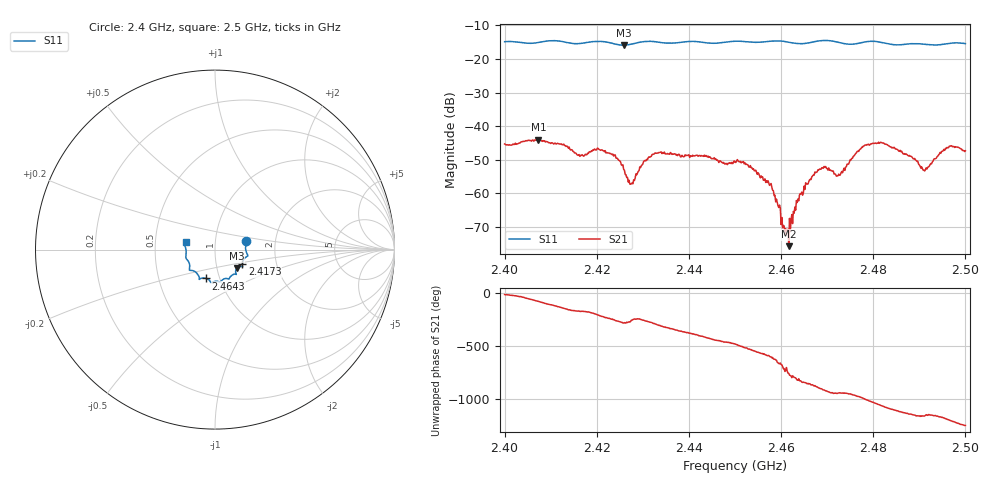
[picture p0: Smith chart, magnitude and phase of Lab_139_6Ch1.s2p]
# Hz S RI R 50
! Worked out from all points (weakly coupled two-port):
!   601 points, 2.4 GHz to 2.5 GHz, reference 50 ohm
!   highest |S21| = -43.97 dB at 2.4073 GHz (marker M1); lowest = -75.7 dB at 2.4617 GHz (marker M2)
!   lowest |S11| = -15.9 dB at 2.4258 GHz (marker M3), VSWR 1.38, Z = 62.3 - j13.3 ohm
!   |S11| at or under -10 dB: start of sweep to end of sweep
!   S12 and S22 are empty: the file has one direction only
!   S11 on the Smith chart (normalised r, x): 2.4 GHz: 1.41, +0.14; 2.4173 GHz: 1.34, -0.23; 2.4643 GHz: 0.86, -0.28; 2.5 GHz: 0.72, +0.06
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2.4e9  0.1733 0.0494  0.00516 -0.00173  0 0  0 0
2.407333e9  0.1749 -0.0141  0.000846 -0.00628  0 0  0 0
2.416667e9  0.1529 -0.0748  -0.00365 -0.00025  0 0  0 0
2.417333e9  0.1523 -0.0821  -0.00368 -0.000144  0 0  0 0
2.420667e9  0.1543 -0.0967  -0.0035 0.00274  0 0  0 0
2.425833e9  0.1216 -0.1037  0.000654 0.00219  0 0  0 0
2.427667e9  0.1149 -0.1205  -0.000277 0.00141  0 0  0 0
2.430333e9  0.1181 -0.137  -0.000385 0.00303  0 0  0 0
2.433333e9  0.113 -0.1368  0.00224 0.0033  0 0  0 0
2.45e9  0.0294 -0.1807  -0.0016 -0.00244  0 0  0 0
2.4575e9  -0.0163 -0.1819  -0.000662 0.00114  0 0  0 0
2.4605e9  -0.0247 -0.181  0.000333 3.25e-05  0 0  0 0
2.461667e9  -0.0282 -0.1746  0.000128 -0.000103  0 0  0 0
2.464333e9  -0.0499 -0.1605  -0.000375 -0.000913  0 0  0 0
2.466667e9  -0.076 -0.1596  -0.00148 -0.000963  0 0  0 0
2.469333e9  -0.0877 -0.1663  -0.00243 0.000663  0 0  0 0
2.4725e9  -0.0889 -0.1517  -0.0014 0.00133  0 0  0 0
2.478333e9  -0.1371 -0.1156  0.00121 0.0051  0 0  0 0
2.483333e9  -0.1407 -0.09  0.00508 -0.000661  0 0  0 0
2.491167e9  -0.1615 -0.033  0.000405 -0.00212  0 0  0 0
2.4965e9  -0.1685 0.023  -0.00237 -0.00443  0 0  0 0
2.5e9  -0.1636 0.0415  -0.00421 -0.000867  0 0  0 0
